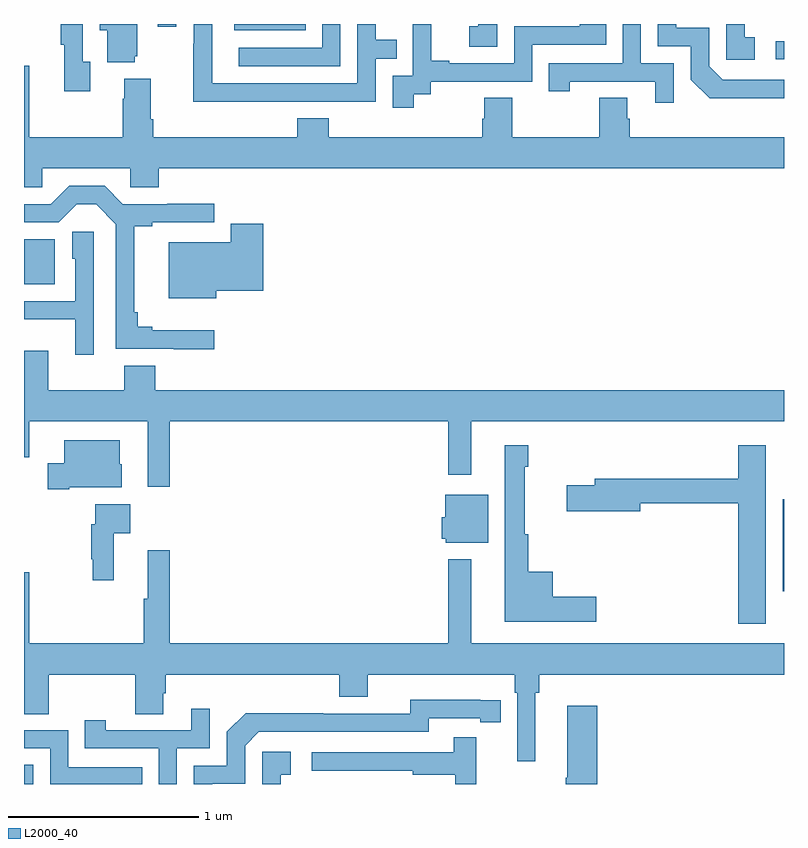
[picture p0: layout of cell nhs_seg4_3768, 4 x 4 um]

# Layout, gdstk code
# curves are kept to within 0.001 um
import gdstk
lib = gdstk.Library(unit=1e-6, precision=1e-09)
def R(c, l, rs):  # rectangles x0, y0, x1, y1
    for r in rs: c.add(gdstk.rectangle(r[:2], r[2:], *l))
def P(c, l, *ps):  # polygons
    for p in ps: c.add(gdstk.Polygon(p, *l))
L2000_40 = (2000, 40)

nhs_seg4_3768 = lib.new_cell('nhs_seg4_3768')
R(nhs_seg4_3768, L2000_40, [(309,806.9,309.048,807.001), (312.993,807.915,313,808.399), (309,809.531,309.163,809.767), (312.957,810.714,313,810.81), (310.106,810.866,310.484,810.9), (309.705,810.885,309.801,810.9), (312.974,810.899,313,810.9)])
P(nhs_seg4_3768, L2000_40, [(313,810.606),(312.678,810.606),(312.606,810.678),(312.606,810.879),(312.433,810.879),(312.433,810.9),(312.336,810.9),(312.336,810.783),(312.51,810.783),(312.51,810.606),(312.608,810.509),(313,810.509)],
  [(310.665,810.9),(310.569,810.9),(310.569,810.774),(310.131,810.774),(310.131,810.678),(310.665,810.678)],
  [(312.42,810.693),(312.246,810.693),(312.246,810.9),(312.15,810.9),(312.15,810.693),(311.761,810.693),(311.761,810.546),(311.872,810.546),(311.872,810.597),(312.323,810.597),(312.323,810.486),(312.42,810.486)],
  [(311.49,810.9),(311.392,810.9),(311.392,810.889),(311.343,810.889),(311.343,810.78),(311.49,810.78)],
  [(309.349,810.702),(309.309,810.702),(309.309,810.9),(309.193,810.9),(309.193,810.79),(309.212,810.79),(309.212,810.546),(309.349,810.546)],
  [(309.584,810.729),(309.595,810.729),(309.595,810.9),(309.398,810.9),(309.398,810.866),(309.437,810.866),(309.437,810.698),(309.584,810.698)],
  [(310.355,810.492),(310.851,810.492),(310.851,810.717),(310.961,810.717),(310.961,810.818),(310.851,810.818),(310.851,810.9),(310.755,810.9),(310.755,810.588),(309.99,810.588),(309.99,810.9),(309.894,810.9),(309.894,810.797),(309.892,810.797),(309.892,810.491),(310.355,810.491)],
  [(312.847,810.831),(312.794,810.831),(312.794,810.9),(312.696,810.9),(312.696,810.711),(312.847,810.711)],
  [(311.05,810.529),(311.142,810.529),(311.142,810.597),(311.676,810.597),(311.676,810.792),(312.065,810.792),(312.065,810.9),(311.925,810.9),(311.925,810.888),(311.58,810.888),(311.58,810.693),(311.239,810.693),(311.239,810.706),(311.144,810.706),(311.144,810.9),(311.045,810.9),(311.045,810.857),(311.046,810.857),(311.046,810.627),(310.941,810.627),(310.941,810.459),(311.05,810.459)],
  [(309.096,810.14),(309.558,810.14),(309.558,810.042),(309.71,810.042),(309.71,810.14),(313,810.14),(313,810.304),(312.188,810.304),(312.188,810.402),(312.175,810.402),(312.175,810.512),(312.028,810.512),(312.028,810.304),(311.571,810.304),(311.571,810.512),(311.423,810.512),(311.423,810.402),(311.411,810.402),(311.411,810.304),(310.604,810.304),(310.604,810.403),(310.439,810.403),(310.439,810.304),(309.68,810.304),(309.68,810.4),(309.667,810.4),(309.667,810.613),(309.527,810.613),(309.527,810.506),(309.52,810.506),(309.52,810.304),(309.028,810.304),(309.028,810.679),(309,810.679),(309,810.042),(309.096,810.042)],
  [(310,809.287),(309.676,809.287),(309.676,809.306),(309.599,809.306),(309.599,809.383),(309.581,809.383),(309.581,809.836),(309.676,809.836),(309.676,809.856),(310,809.856),(310,809.954),(309.753,809.954),(309.753,809.952),(309.52,809.952),(309.424,810.048),(309.237,810.048),(309.141,809.952),(309,809.952),(309,809.856),(309.183,809.856),(309.278,809.951),(309.379,809.951),(309.483,809.847),(309.483,809.19),(310,809.189)],
  [(310.012,809.495),(310.259,809.495),(310.259,809.848),(310.088,809.848),(310.088,809.752),(309.761,809.752),(309.761,809.456),(310.012,809.456)],
  [(309.366,809.807),(309.254,809.807),(309.254,809.664),(309.27,809.664),(309.27,809.442),(309,809.442),(309,809.345),(309.269,809.345),(309.269,809.16),(309.366,809.16)],
  [(309.767,808.808),(311.232,808.808),(311.232,808.527),(311.353,808.527),(311.353,808.808),(313,808.808),(313,808.972),(309.691,808.972),(309.691,809.101),(309.527,809.101),(309.527,808.972),(309.127,808.972),(309.127,809.179),(309,809.179),(309,808.62),(309.028,808.62),(309.028,808.808),(309.65,808.808),(309.65,808.464),(309.767,808.464)],
  [(309.238,808.463),(309.514,808.463),(309.514,808.584),(309.505,808.584),(309.505,808.708),(309.212,808.708),(309.212,808.588),(309.126,808.588),(309.126,808.451),(309.238,808.451)],
  [(312.904,808.684),(312.758,808.684),(312.758,808.507),(312.005,808.507),(312.005,808.473),(311.856,808.473),(311.856,808.336),(312.244,808.336),(312.244,808.378),(312.758,808.378),(312.758,807.744),(312.904,807.744)],
  [(312.013,807.885),(311.782,807.885),(311.782,808.018),(311.653,808.018),(311.653,808.214),(311.635,808.214),(311.635,808.571),(311.653,808.571),(311.653,808.684),(311.531,808.684),(311.531,807.755),(312.013,807.755)],
  [(311.443,808.423),(311.216,808.423),(311.216,808.305),(311.198,808.305),(311.198,808.191),(311.22,808.191),(311.22,808.169),(311.443,808.169)],
  [(309.473,808.22),(309.559,808.22),(309.559,808.372),(309.375,808.372),(309.375,808.268),(309.355,808.268),(309.355,808.084),(309.363,808.084),(309.363,807.972),(309.473,807.972)],
  [(311.692,807.38),(311.711,807.38),(311.711,807.476),(313,807.476),(313,807.64),(311.353,807.64),(311.353,808.084),(311.232,808.084),(311.232,807.64),(309.767,807.64),(309.767,808.129),(309.65,808.129),(309.65,807.876),(309.631,807.876),(309.631,807.64),(309.028,807.64),(309.028,808.015),(309,808.015),(309,807.268),(309.129,807.268),(309.129,807.476),(309.586,807.476),(309.586,807.268),(309.733,807.268),(309.733,807.378),(309.746,807.378),(309.746,807.476),(310.658,807.476),(310.658,807.359),(310.81,807.359),(310.81,807.476),(311.582,807.476),(311.582,807.38),(311.595,807.38),(311.595,807.021),(311.692,807.021)],
  [(309.991,806.901),(310.164,806.901),(310.164,807.102),(310.236,807.174),(311.13,807.174),(311.13,807.246),(311.402,807.246),(311.402,807.226),(311.51,807.226),(311.51,807.342),(311.034,807.343),(311.034,807.27),(310.574,807.27),(310.574,807.272),(310.166,807.272),(310.068,807.174),(310.068,806.997),(309.894,806.997),(309.894,806.9)],
  [(312.017,807.313),(311.858,807.313),(311.858,806.933),(311.851,806.933),(311.851,806.9),(312.017,806.9)],
  [(309.804,807.087),(309.978,807.087),(309.978,807.295),(309.881,807.295),(309.881,807.183),(309.43,807.183),(309.43,807.235),(309.319,807.235),(309.319,807.087),(309.708,807.087),(309.708,806.9),(309.804,806.9)],
  [(309.623,806.988),(309.234,806.988),(309.234,807.183),(309,807.183),(309,807.087),(309.138,807.087),(309.138,806.9),(309.623,806.9)],
  [(311.381,807.145),(311.263,807.145),(311.263,807.066),(310.515,807.066),(310.515,806.97),(311.047,806.97),(311.047,806.95),(311.271,806.95),(311.271,806.9),(311.381,806.9)],
  [(310.352,806.949),(310.405,806.949),(310.405,807.07),(310.254,807.07),(310.254,806.9),(310.352,806.9)])

lib.write_gds('nhs_seg4_3768.gds')
